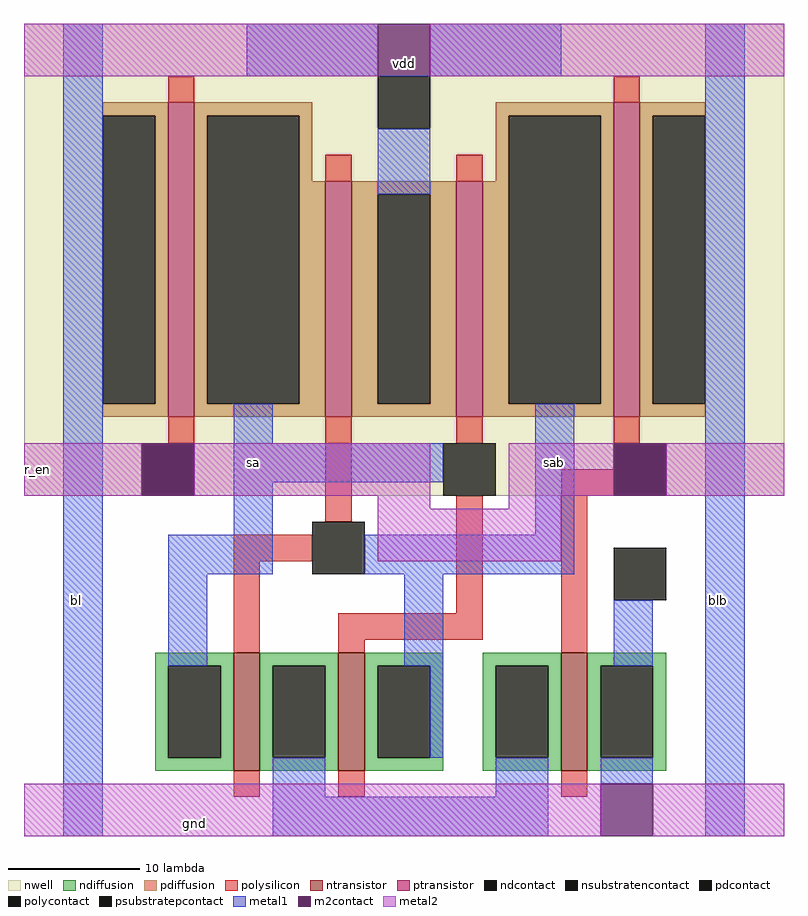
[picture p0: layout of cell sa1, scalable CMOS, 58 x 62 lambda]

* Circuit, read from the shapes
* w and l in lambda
.subckt sa1 bl blb gnd r_en sa sab vdd
M1 n1 sab sa gnd nfet w=9 l=2
M2 sab sa n1 gnd nfet w=9 l=2
M3 gnd r_en n1 gnd nfet w=9 l=2
M4 sa r_en bl vdd pfet w=24 l=2
M5 vdd sab sa vdd pfet w=18 l=2
M6 sab sa vdd vdd pfet w=18 l=2
M7 blb r_en sab vdd pfet w=24 l=2
.ends

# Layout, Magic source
magic
tech scmos
<< nwell >>
rect -92 32 -34 68
<< ntransistor >>
rect -76 11 -74 20
rect -68 11 -66 20
rect -51 11 -49 20
<< ptransistor >>
rect -81 38 -79 62
rect -69 38 -67 56
rect -59 38 -57 56
rect -47 38 -45 62
<< ndiffusion >>
rect -82 19 -76 20
rect -82 12 -81 19
rect -77 12 -76 19
rect -82 11 -76 12
rect -74 19 -68 20
rect -74 12 -73 19
rect -69 12 -68 19
rect -74 11 -68 12
rect -66 19 -60 20
rect -66 12 -65 19
rect -61 12 -60 19
rect -66 11 -60 12
rect -57 19 -51 20
rect -57 12 -56 19
rect -52 12 -51 19
rect -57 11 -51 12
rect -49 19 -43 20
rect -49 12 -48 19
rect -44 12 -43 19
rect -49 11 -43 12
<< pdiffusion >>
rect -86 61 -81 62
rect -82 39 -81 61
rect -86 38 -81 39
rect -79 61 -70 62
rect -79 39 -78 61
rect -71 56 -70 61
rect -56 61 -47 62
rect -56 56 -55 61
rect -71 39 -69 56
rect -79 38 -69 39
rect -67 55 -59 56
rect -67 39 -65 55
rect -61 39 -59 55
rect -67 38 -59 39
rect -57 39 -55 56
rect -48 39 -47 61
rect -57 38 -47 39
rect -45 61 -40 62
rect -45 39 -44 61
rect -45 38 -40 39
<< ndcontact >>
rect -81 12 -77 19
rect -73 12 -69 19
rect -65 12 -61 19
rect -56 12 -52 19
rect -48 12 -44 19
<< pdcontact >>
rect -86 39 -82 61
rect -78 39 -71 61
rect -65 39 -61 55
rect -55 39 -48 61
rect -44 39 -40 61
<< psubstratepcontact >>
rect -47 24 -43 28
<< nsubstratencontact >>
rect -65 60 -61 64
<< polysilicon >>
rect -81 62 -79 64
rect -47 62 -45 64
rect -69 56 -67 58
rect -59 56 -57 58
rect -81 36 -79 38
rect -69 30 -67 38
rect -59 36 -57 38
rect -47 36 -45 38
rect -51 32 -47 34
rect -76 27 -70 29
rect -76 20 -74 27
rect -59 23 -57 32
rect -68 21 -57 23
rect -68 20 -66 21
rect -51 20 -49 32
rect -76 9 -74 11
rect -68 9 -66 11
rect -51 9 -49 11
<< polycontact >>
rect -83 32 -79 36
rect -60 32 -56 36
rect -47 32 -43 36
rect -70 26 -66 30
<< metal1 >>
rect -89 6 -86 68
rect -75 64 -65 68
rect -61 64 -51 68
rect -65 55 -61 60
rect -76 36 -73 39
rect -76 33 -60 36
rect -76 29 -73 33
rect -81 26 -73 29
rect -53 29 -50 39
rect -66 26 -50 29
rect -81 19 -78 26
rect -63 19 -60 26
rect -47 19 -44 24
rect -61 12 -60 19
rect -73 9 -69 12
rect -56 9 -52 12
rect -73 6 -52 9
rect -48 10 -44 12
rect -40 6 -37 68
<< m2contact >>
rect -65 64 -61 68
rect -83 32 -79 36
rect -47 32 -43 36
rect -48 6 -44 10
<< metal2 >>
rect -92 64 -65 68
rect -61 64 -34 68
rect -92 32 -83 36
rect -79 32 -61 36
rect -65 31 -61 32
rect -55 32 -47 36
rect -43 32 -34 36
rect -55 31 -51 32
rect -65 27 -51 31
rect -92 6 -48 10
rect -44 6 -34 10
<< labels >>
rlabel m2contact -63 65 -63 65 1 vdd
rlabel metal1 -75 34 -74 35 1 sa
rlabel metal1 -52 34 -51 35 1 sab
rlabel metal2 -91 34 -91 34 3 r_en
rlabel metal1 -88 24 -88 24 3 bl
rlabel metal1 -39 24 -39 24 1 blb
rlabel metal2 -79 7 -79 7 1 gnd
<< end >>
